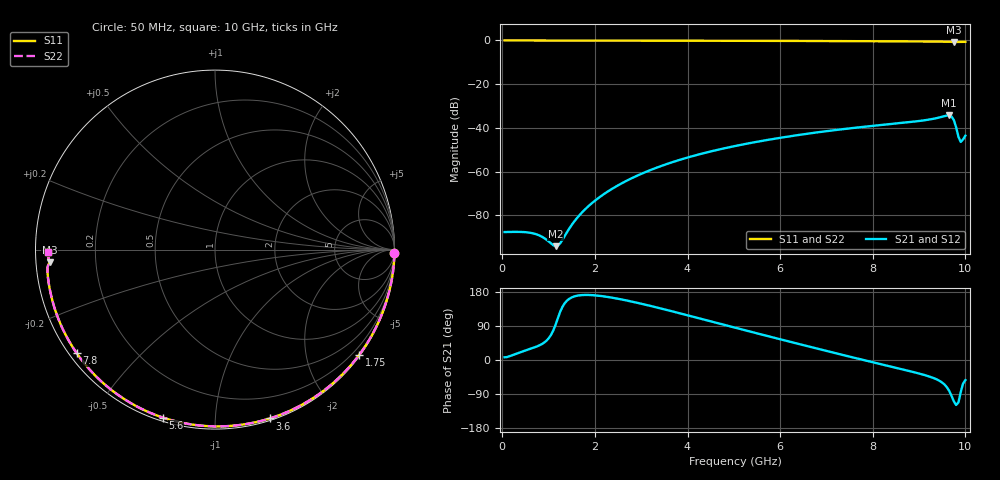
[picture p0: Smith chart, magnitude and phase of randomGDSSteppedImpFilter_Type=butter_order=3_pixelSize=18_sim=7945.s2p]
! freq	dB(S11)	phase(S11)	dB(S12)	phase(S12)
!  dB(S21)	phase(S21)	dB(S22)	phase(S22)
!S-par simulation data
#  GHz  S  DB  R 50
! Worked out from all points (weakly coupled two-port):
!   200 points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, 50 MHz to 10 GHz, reference 50 ohm
!   highest |S21| = -34.30 dB at 9.65 GHz (marker M1); lowest = -94.2 dB at 1.15 GHz (marker M2)
!   lowest |S11| = -0.7 dB at 9.75 GHz (marker M3), VSWR 24.82, Z = 2.02 - j1.94 ohm
!   |S11| at or under -10 dB: nowhere
!   |S22| runs from -0.7 to 0.0 dB; largest |S21 - S12| = 0
!   S11 on the Smith chart (normalised r, x): 50 MHz: open; 1.75 GHz: 0.03, -3.06; 3.6 GHz: 0.02, -1.38; 5.6 GHz: 0.02, -0.74; 7.8 GHz: 0.02, -0.33; 10 GHz: 0.04, -0.01
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0.05  -0.00 -1.1  -87.71 7.1  -87.71 7.1  -0.00 -1.1
1.15  -0.03 -24.0  -94.18 93.0  -94.18 93.0  -0.03 -24.0
1.65  -0.04 -34.2  -80.38 170.4  -80.38 170.4  -0.04 -34.2
1.75  -0.05 -36.2  -78.10 171.5  -78.10 171.5  -0.05 -36.2
2.05  -0.05 -42.2  -72.54 170.0  -72.54 170.0  -0.05 -42.2
2.45  -0.06 -50.1  -66.93 162.7  -66.93 162.7  -0.06 -50.1
2.9  -0.08 -58.8  -62.03 151.3  -62.03 151.3  -0.08 -58.8
3.4  -0.09 -68.3  -57.71 136.7  -57.71 136.7  -0.09 -68.3
3.6  -0.10 -72.0  -56.23 130.6  -56.23 130.6  -0.10 -72.0
5.05  -0.15 -97.9  -48.22 84.5  -48.22 84.5  -0.15 -97.9
5.6  -0.18 -107.3  -46.01 67.2  -46.01 67.2  -0.18 -107.3
6.7  -0.24 -125.4  -42.37 33.1  -42.37 33.1  -0.24 -125.4
7.8  -0.33 -143.2  -39.55 -0.1  -39.55 -0.1  -0.33 -143.2
8.35  -0.38 -152.1  -38.35 -16.2  -38.35 -16.2  -0.38 -152.1
9.15  -0.47 -165.2  -36.44 -40.9  -36.44 -40.9  -0.47 -165.2
9.65  -0.56 -174.2  -34.30 -81.4  -34.30 -81.4  -0.56 -174.1
9.7  -0.63 -175.1  -34.76 -94.3  -34.76 -94.3  -0.63 -175.1
9.75  -0.70 -175.6  -36.40 -109.0  -36.40 -109.0  -0.70 -175.5
9.8  -0.69 -175.9  -39.72 -118.6  -39.72 -118.6  -0.69 -175.9
9.85  -0.66 -176.6  -44.11 -111.9  -44.11 -111.9  -0.66 -176.6
9.9  -0.64 -177.5  -46.46 -84.4  -46.46 -84.4  -0.64 -177.5
10  -0.63 -179.2  -43.59 -53.1  -43.59 -53.1  -0.63 -179.2
